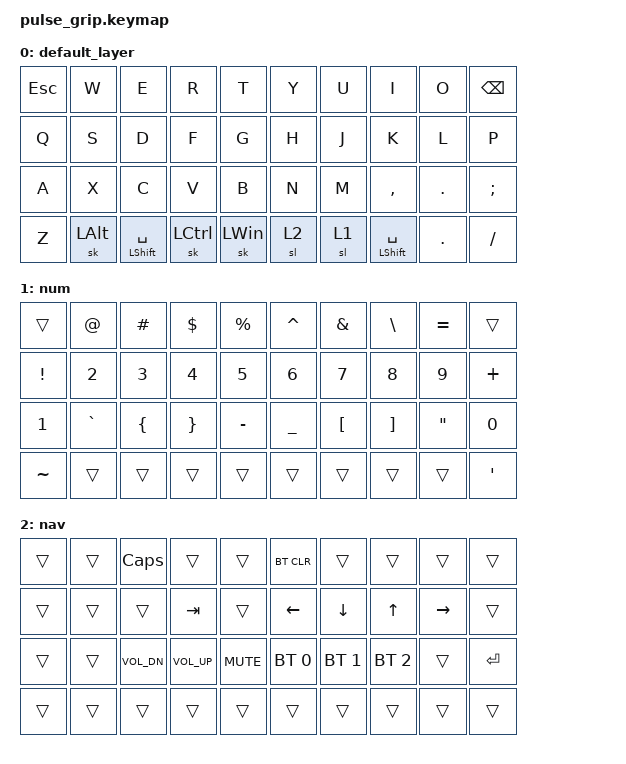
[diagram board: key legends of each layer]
/*
 * Copyright (c) 2021 Nick Winans
 *
 * SPDX-License-Identifier: MIT
 */

#include <behaviors.dtsi>
#include <dt-bindings/zmk/bt.h>
#include <dt-bindings/zmk/keys.h>

&sl { ignore-modifiers; };

/ {
    keymap {
        compatible = "zmk,keymap";

        default_layer {
            bindings = <
&kp ESC  &kp W         &kp E                 &kp R             &kp T           &kp Y  &kp U  &kp I                 &kp O    &kp BSPC
&kp Q    &kp S         &kp D                 &kp F             &kp G           &kp H  &kp J  &kp K                 &kp L    &kp P
&kp A    &kp X         &kp C                 &kp V             &kp B           &kp N  &kp M  &kp COMMA             &kp DOT  &kp SEMI
&kp Z    &sk LEFT_ALT  &mt LEFT_SHIFT SPACE  &sk LEFT_CONTROL  &sk LEFT_WIN    &sl 2  &sl 1  &mt LEFT_SHIFT SPACE  &kp DOT  &kp FSLH
            >;
        };

        num {
            bindings = <
&trans     &kp AT     &kp POUND  &kp DLLR  &kp PRCNT    &kp CARET  &kp AMPS  &kp BACKSLASH  &kp EQUAL          &trans
&kp EXCL   &kp N2     &kp N3     &kp N4    &kp N5       &kp N6     &kp N7    &kp N8         &kp N9             &kp PLUS
&kp N1     &kp GRAVE  &kp LBRC   &kp RBRC  &kp MINUS    &kp UNDER  &kp LBKT  &kp RBKT       &kp DOUBLE_QUOTES  &kp N0
&kp TILDE  &trans     &trans     &trans    &trans       &trans     &trans    &trans         &trans             &kp SINGLE_QUOTE
            >;
        };

        nav {
            bindings = <
&trans  &trans  &kp CAPSLOCK  &trans           &trans        &bt BT_CLR      &trans        &trans        &trans      &trans
&trans  &trans  &trans        &kp TAB          &trans        &kp LEFT_ARROW  &kp DOWN      &kp UP_ARROW  &kp RIGHT   &trans
&trans  &trans  &kp C_VOL_DN  &kp C_VOLUME_UP  &kp K_MUTE    &bt BT_SEL 0    &bt BT_SEL 1  &bt BT_SEL 2  &trans  &kp ENTER
&trans  &trans  &trans        &trans           &trans        &trans          &trans        &trans        &trans      &trans
            >;
        };
    };
};
